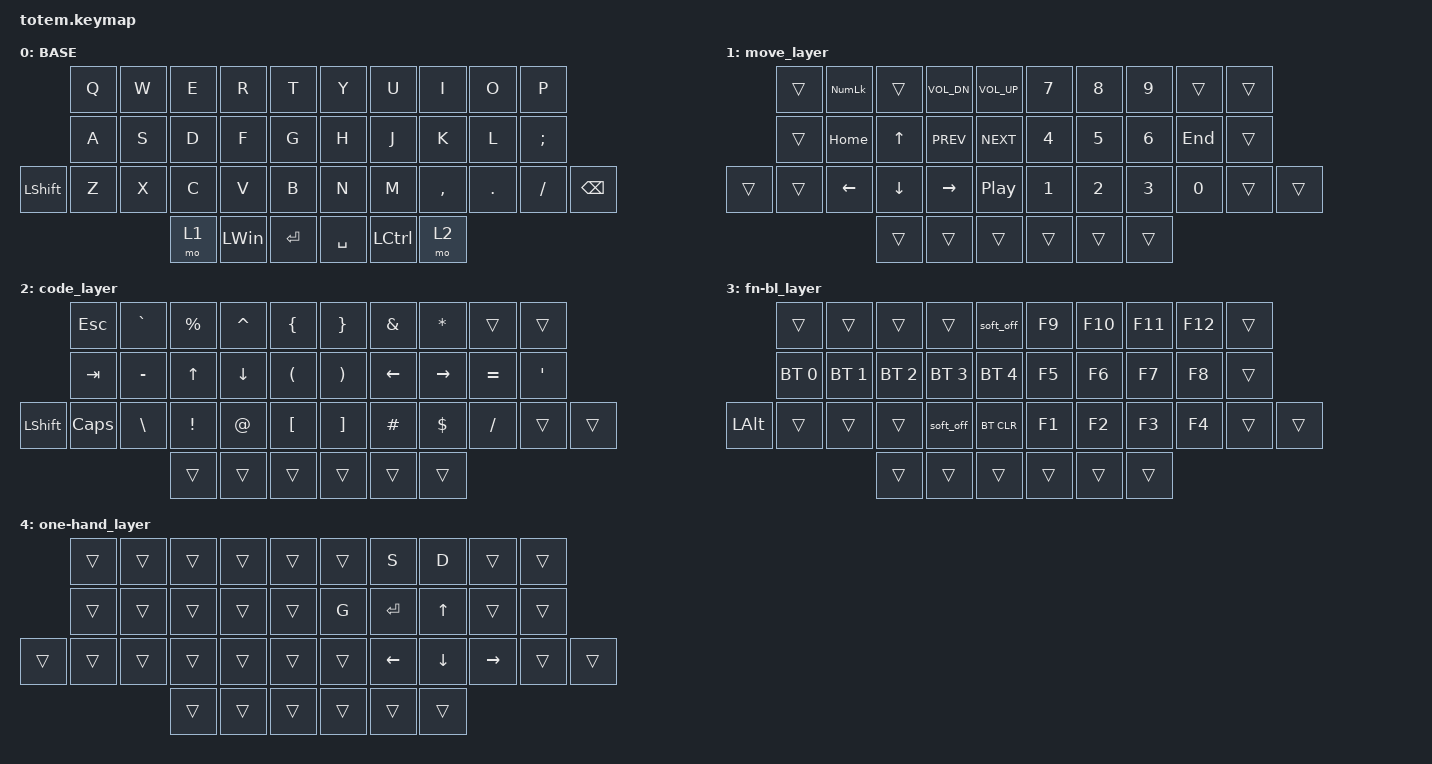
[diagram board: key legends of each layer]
//
//                                                        ▀▀▀▀▀     ▀▀▀▀▀          ▀▀█▀▀
//                                                        ▄▀▀▀▄  ▄  ▄▀▀▀▄  ▄  ▄▀▀▀▄  █  ▄▀▀▀▄
//                                                        █   █  █  █   █  █  █   █  █  █   █
//                                                         ▀▀▀   █   ▀▀▀   █   ▀▀▀   ▀   ▀▀▀
//                                                               █      ▄▄▄█▄▄▄    █   █  
//                                                               ▀      █  █  █     █▄█
//                                                             ▀▀▀▀▀    █  █  █      ▀
//                                                                      ▀  ▀  ▀
//
// ▄▄▄▄▄▄▄▄▄▄▄▄▄▄▄▄▄▄▄▄▄▄▄▄▄▄▄▄▄▄▄▄▄▄▄▄▄▄▄▄▄▄▄▄▄▄▄▄▄▄▄▄▄▄▄▄▄▄▄▄▄▄▄▄▄▄▄▄▄▄▄▄▄▄▄▄▄▄▄▄▄▄▄▄▄▄▄▄▄▄▄▄▄▄▄▄▄▄▄▄▄▄▄▄▄▄▄▄▄▄▄▄▄▄▄▄▄▄▄▄▄▄▄▄▄▄▄▄▄▄▄▄▄▄▄▄▄▄▄▄▄▄▄▄▄▄▄▄▄

#include <behaviors.dtsi>
#include <dt-bindings/zmk/bt.h>
#include <dt-bindings/zmk/keys.h>

#define BASE 0
#define NAV  1
#define SYM  2
#define ADJ  3
#define TVP1 4
#define TVP2 5

&mt {
    quick-tap-ms = <100>;
    global-quick-tap;
    flavor = "tap-preferred";
    tapping-term-ms = <170>;
};

/ {
    combos {
        compatible = "zmk,combos";

        delete_key {
            bindings = <&kp DELETE>;
            key-positions = <36 31>;
        };

        layer_4_tap {
            bindings = <&mo 4>;
            key-positions = <36 35>;
        };

        left_alt_key {
            bindings = <&kp LEFT_ALT>;
            key-positions = <20 32>;
        };
    };

    keymap {
        compatible = "zmk,keymap";

        // ▄▄▄▄▄▄▄▄▄▄▄▄▄▄▄▄▄▄▄▄▄▄▄▄▄▄▄▄▄▄▄▄▄▄▄▄▄▄▄▄▄▄▄▄▄▄▄▄▄▄▄▄▄▄▄▄▄▄▄▄▄▄▄▄▄▄▄▄▄▄▄▄▄▄▄▄▄▄▄▄▄▄▄▄▄▄▄▄▄▄▄▄▄▄▄▄▄▄▄▄▄▄▄▄▄▄▄▄▄▄▄▄▄▄▄▄▄▄▄▄▄▄▄▄▄▄▄▄▄▄▄▄▄▄▄▄▄▄▄▄▄▄▄▄▄▄▄▄▄

        base_layer {
            // ┏━━━━━━━━━━━━━━━━━━━━━━━━━━━━━━━━━━━━━━━┓

            label = "BASE";

            // ┗━━━━━━━━━━━━━━━━━━━━━━━━━━━━━━━━━━━━━━━┛
            //             ┏━━━━━━━━━━━┳━━━━━━━━━━━┳━━━━━━━━━━━┳━━━━━━━━━━━┳━━━━━━━━━━━┓   ┏━━━━━━━━━━━┳━━━━━━━━━━━┳━━━━━━━━━━━┳━━━━━━━━━━━┳━━━━━━━━━━━┓
            //             ┃     Q     ┃     W     ┃     F     ┃     P     ┃     G     ┃   ┃     J     ┃     L     ┃     U     ┃     Y     ┃     ;     ┃
            //             ┣━━━━━━━━━━━╋━━━━━━━━━━━╋━━━━━━━━━━━╋━━━━━━━━━━━╋━━━━━━━━━━━┫   ┣━━━━━━━━━━━╋━━━━━━━━━━━╋━━━━━━━━━━━╋━━━━━━━━━━━╋━━━━━━━━━━━┫
            //             ┃     A     ┃     R     ┃     S     ┃     T     ┃     D     ┃   ┃     H     ┃     N     ┃     E     ┃     I     ┃     O     ┃
            // ┏━━━━━━━━━━━╋━━━━━━━━━━━╋━━━━━━━━━━━╋━━━━━━━━━━━╋━━━━━━━━━━━╋━━━━━━━━━━━┫   ┣━━━━━━━━━━━╋━━━━━━━━━━━╋━━━━━━━━━━━╋━━━━━━━━━━━╋━━━━━━━━━━━╋━━━━━━━━━━━┓
            // ┃     Q     ┃     Z     ┃     X     ┃     C     ┃     V     ┃     B     ┃   ┃     K     ┃     M     ┃     ,     ┃     .     ┃     /     ┃     \     ┃
            // ┗━━━━━━━━━━━┻━━━━━━━━━━━┻━━━━━━━━━━━╋━━━━━━━━━━━╋━━━━━━━━━━━╋━━━━━━━━━━━┫   ┣━━━━━━━━━━━╋━━━━━━━━━━━╋━━━━━━━━━━━╋━━━━━━━━━━━┻━━━━━━━━━━━┻━━━━━━━━━━━┛
            //                                     ┃    DEL    ┃    TAB    ┃    SPC    ┃   ┃   ENTER   ┃           ┃   BSPC    ┃
            //                                     ┗━━━━━━━━━━━┻━━━━━━━━━━━┻━━━━━━━━━━━┛   ┗━━━━━━━━━━━┻━━━━━━━━━━━┻━━━━━━━━━━━┛

            bindings = <
                &kp Q  &kp W  &kp E  &kp R         &kp T         &kp Y      &kp U             &kp I      &kp O       &kp P
                &kp A  &kp S  &kp D  &kp F         &kp G         &kp H      &kp J             &kp K      &kp L       &kp SEMICOLON
&kp LEFT_SHIFT  &kp Z  &kp X  &kp C  &kp V         &kp B         &kp N      &kp M             &kp COMMA  &kp PERIOD  &kp SLASH      &kp BACKSPACE
                              &mo 1  &kp LEFT_WIN  &kp RETURN    &kp SPACE  &kp LEFT_CONTROL  &mo 2
            >;
        };

        // ▄▄▄▄▄▄▄▄▄▄▄▄▄▄▄▄▄▄▄▄▄▄▄▄▄▄▄▄▄▄▄▄▄▄▄▄▄▄▄▄▄▄▄▄▄▄▄▄▄▄▄▄▄▄▄▄▄▄▄▄▄▄▄▄▄▄▄▄▄▄▄▄▄▄▄▄▄▄▄▄▄▄▄▄▄▄▄▄▄▄▄▄▄▄▄▄▄▄▄▄▄▄▄▄▄▄▄▄▄▄▄▄▄▄▄▄▄▄▄▄▄▄▄▄▄▄▄▄▄▄▄▄▄▄▄▄▄▄▄▄▄▄▄▄▄▄▄▄▄
        // ▄▄▄▄▄▄▄▄▄▄▄▄▄▄▄▄▄▄▄▄▄▄▄▄▄▄▄▄▄▄▄▄▄▄▄▄▄▄▄▄▄▄▄▄▄▄▄▄▄▄▄▄▄▄▄▄▄▄▄▄▄▄▄▄▄▄▄▄▄▄▄▄▄▄▄▄▄▄▄▄▄▄▄▄▄▄▄▄▄▄▄▄▄▄▄▄▄▄▄▄▄▄▄▄▄▄▄▄▄▄▄▄▄▄▄▄▄▄▄▄▄▄▄▄▄▄▄▄▄▄▄▄▄▄▄▄▄▄▄▄▄▄▄▄▄▄▄▄▄
        // ▄▄▄▄▄▄▄▄▄▄▄▄▄▄▄▄▄▄▄▄▄▄▄▄▄▄▄▄▄▄▄▄▄▄▄▄▄▄▄▄▄▄▄▄▄▄▄▄▄▄▄▄▄▄▄▄▄▄▄▄▄▄▄▄▄▄▄▄▄▄▄▄▄▄▄▄▄▄▄▄▄▄▄▄▄▄▄▄▄▄▄▄▄▄▄▄▄▄▄▄▄▄▄▄▄▄▄▄▄▄▄▄▄▄▄▄▄▄▄▄▄▄▄▄▄▄▄▄▄▄▄▄▄▄▄▄▄▄▄▄▄▄▄▄▄▄▄▄▄
        // ▄▄▄▄▄▄▄▄▄▄▄▄▄▄▄▄▄▄▄▄▄▄▄▄▄▄▄▄▄▄▄▄▄▄▄▄▄▄▄▄▄▄▄▄▄▄▄▄▄▄▄▄▄▄▄▄▄▄▄▄▄▄▄▄▄▄▄▄▄▄▄▄▄▄▄▄▄▄▄▄▄▄▄▄▄▄▄▄▄▄▄▄▄▄▄▄▄▄▄▄▄▄▄▄▄▄▄▄▄▄▄▄▄▄▄▄▄▄▄▄▄▄▄▄▄▄▄▄▄▄▄▄▄▄▄▄▄▄▄▄▄▄▄▄▄▄▄▄▄
        // ▄▄▄▄▄▄▄▄▄▄▄▄▄▄▄▄▄▄▄▄▄▄▄▄▄▄▄▄▄▄▄▄▄▄▄▄▄▄▄▄▄▄▄▄▄▄▄▄▄▄▄▄▄▄▄▄▄▄▄▄▄▄▄▄▄▄▄▄▄▄▄▄▄▄▄▄▄▄▄▄▄▄▄▄▄▄▄▄▄▄▄▄▄▄▄▄▄▄▄▄▄▄▄▄▄▄▄▄▄▄▄▄▄▄▄▄▄▄▄▄▄▄▄▄▄▄▄▄▄▄▄▄▄▄▄▄▄▄▄▄▄▄▄▄▄▄▄▄▄

        move_layer {
            bindings = <
        &trans  &kp KP_NUMLOCK  &trans    &kp C_VOL_DN  &kp C_VOL_UP        &kp N7  &kp N8  &kp N9  &trans   &trans
        &trans  &kp HOME        &kp UP    &kp C_PREV    &kp C_NEXT          &kp N4  &kp N5  &kp N6  &kp END  &trans
&trans  &trans  &kp LEFT        &kp DOWN  &kp RIGHT     &kp C_PLAY_PAUSE    &kp N1  &kp N2  &kp N3  &kp N0   &trans  &trans
                                &trans    &trans        &trans              &trans  &trans  &trans
            >;
        };

        code_layer {
            bindings = <
                &kp ESC   &kp GRAVE      &kp PERCENT      &kp CARET       &kp LEFT_BRACE          &kp RIGHT_BRACE        &kp AMPERSAND  &kp ASTERISK  &trans     &trans
                &kp TAB   &kp MINUS      &kp UP_ARROW     &kp DOWN_ARROW  &kp LEFT_PARENTHESIS    &kp RIGHT_PARENTHESIS  &kp LEFT       &kp RIGHT     &kp EQUAL  &kp SINGLE_QUOTE
&kp LEFT_SHIFT  &kp CAPS  &kp BACKSLASH  &kp EXCLAMATION  &kp AT_SIGN     &kp LEFT_BRACKET        &kp RIGHT_BRACKET      &kp HASH       &kp DOLLAR    &kp SLASH  &trans            &trans
                                         &trans           &trans          &trans                  &trans                 &trans         &trans
            >;
        };

        fn-bl_layer {
            bindings = <
              &trans        &trans        &trans        &trans        &soft_off       &kp F9  &kp F10  &kp F11  &kp F12  &trans
              &bt BT_SEL 0  &bt BT_SEL 1  &bt BT_SEL 2  &bt BT_SEL 3  &bt BT_SEL 4    &kp F5  &kp F6   &kp F7   &kp F8   &trans
&kp LEFT_ALT  &trans        &trans        &trans        &soft_off     &bt BT_CLR      &kp F1  &kp F2   &kp F3   &kp F4   &trans  &trans
                                          &trans        &trans        &trans          &trans  &trans   &trans
            >;
        };

        one-hand_layer {
            bindings = <
        &trans  &trans  &trans  &trans  &trans    &trans  &kp S           &kp D           &trans     &trans
        &trans  &trans  &trans  &trans  &trans    &kp G   &kp ENTER       &kp UP_ARROW    &trans     &trans
&trans  &trans  &trans  &trans  &trans  &trans    &trans  &kp LEFT_ARROW  &kp DOWN_ARROW  &kp RIGHT  &trans  &trans
                        &trans  &trans  &trans    &trans  &trans          &trans
            >;
        };
    };

    conditional_layers {
        compatible = "zmk,conditional-layers";

        misc {
            if-layers = <1 2>;
            then-layer = <3>;
        };
    };
};
